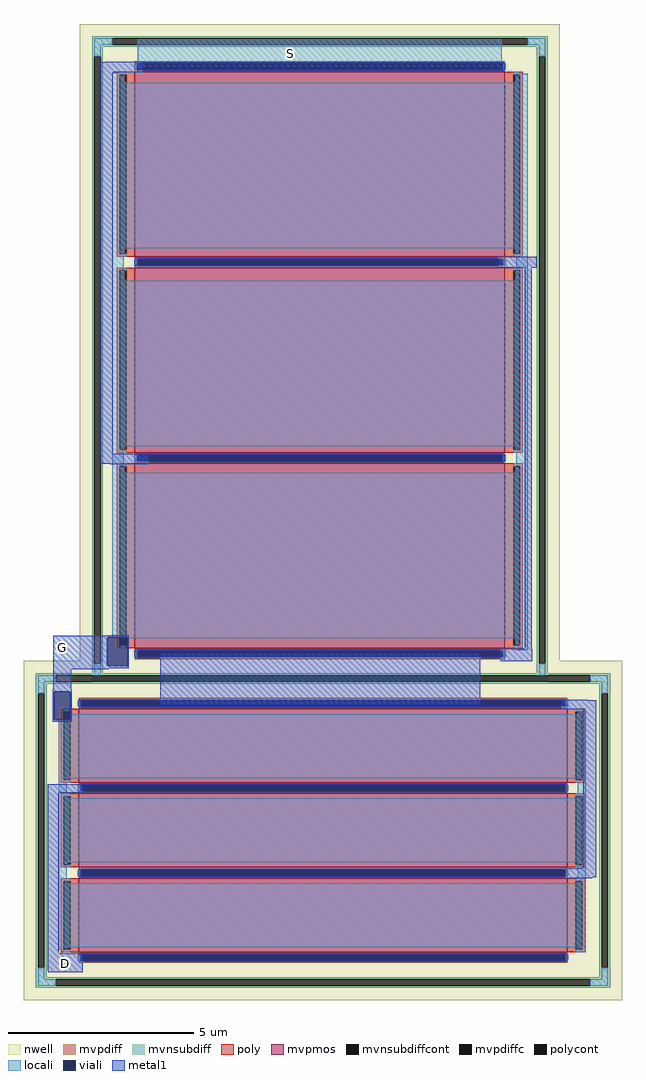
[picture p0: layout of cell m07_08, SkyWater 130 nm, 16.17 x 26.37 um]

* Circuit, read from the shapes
.subckt m07_08 D G S
XM1 n1 G D S sky130_fd_pr__pfet_g5v0d10v5 w=13.2 l=2 m=3
XM2 S G n1 S sky130_fd_pr__pfet_g5v0d10v5 w=10 l=5 m=3
.ends

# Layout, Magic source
magic
tech sky130A
magscale 1 2
<< nwell >>
rect 29034 10510 29204 10576
rect 26588 8830 26776 8932
<< locali >>
rect 27072 13718 29038 13870
rect 26934 13636 26996 13690
rect 29118 13636 29180 13684
rect 26934 12742 29180 13636
rect 26934 12566 26996 12742
rect 29118 12566 29180 12742
rect 26934 11672 29180 12566
rect 26934 11528 26996 11672
rect 29118 11528 29180 11672
rect 26934 10638 29180 11528
rect 27018 10634 29180 10638
rect 29118 10570 29180 10634
rect 29450 10222 29494 10242
rect 26708 10194 29494 10222
rect 26644 9878 29494 10194
rect 26644 9768 26688 9878
rect 29450 9768 29494 9878
rect 26644 9424 29494 9768
rect 26644 9309 26688 9424
rect 29450 9309 29494 9424
rect 26644 8965 29494 9309
rect 26644 8950 26688 8965
rect 29450 8938 29494 8965
<< viali >>
rect 26908 10484 27018 10638
rect 26620 10194 26708 10346
<< metal1 >>
rect 26894 13746 27100 13750
rect 26864 13692 27100 13746
rect 26864 11632 26936 13692
rect 29022 12636 29228 12694
rect 26864 11578 27130 11632
rect 26924 11574 27130 11578
rect 26902 10648 27024 10650
rect 26616 10638 27024 10648
rect 26616 10484 26908 10638
rect 27018 10484 27024 10638
rect 29164 10576 29202 12636
rect 26616 10472 27024 10484
rect 26616 10466 26914 10472
rect 26616 10358 26712 10466
rect 26614 10346 26714 10358
rect 26614 10194 26620 10346
rect 26708 10194 26714 10346
rect 27194 10274 28924 10554
rect 29034 10510 29204 10576
rect 29362 10300 29506 10302
rect 29362 10250 29550 10300
rect 26614 10182 26714 10194
rect 26586 9798 26776 9846
rect 26586 8932 26644 9798
rect 29478 9390 29550 10250
rect 29384 9342 29550 9390
rect 29384 9338 29528 9342
rect 26586 8836 26776 8932
rect 26588 8830 26776 8836
use sky130_fd_pr__pfet_g5v0d10v5_93K9QQ  sky130_fd_pr__pfet_g5v0d10v5_93K9QQ_0
transform 0 1 28073 -1 0 9595
box -916 -1617 916 1617
use sky130_fd_pr__pfet_g5v0d10v5_QAVCZF  sky130_fd_pr__pfet_g5v0d10v5_QAVCZF_0
transform 0 1 28056 -1 0 12137
box -1816 -1297 1816 1297
<< labels >>
flabel metal1 26668 10582 26668 10582 0 FreeSans 1600 0 0 0 G
flabel locali 27900 13794 27900 13794 0 FreeSans 1600 0 0 0 S
flabel metal1 26682 8878 26682 8878 0 FreeSans 1600 0 0 0 D
<< end >>

# cell sky130_fd_pr__pfet_g5v0d10v5_93K9QQ: kit device sky130_fd_pr__pfet_g5v0d10v5, w 13.2 l 2 m 1 nf 3 diffcov 100 polycov 100 guard 1 glc 1 grc 1 gtc 1 gbc 1 tbcov 100 rlcov 100 topc 1 botc 1 poverlap 0 doverlap 1 lmin 0.50 wmin 0.42 class mosfet compatible {sky130_fd_pr__pfet_01v8 sky130_fd_pr__pfet_01v8_lvt sky130_fd_pr__pfet_01v8_hvt sky130_fd_pr__pfet_g5v0d10v5} full_metal 1 conn_gates 0 viasrc 100 viadrn 100 viagate 100 viagb 0 viagr 0 viagl 0 viagt 0 doports 1

# cell sky130_fd_pr__pfet_g5v0d10v5_QAVCZF: kit device sky130_fd_pr__pfet_g5v0d10v5, w 10 l 5 m 1 nf 3 diffcov 100 polycov 100 guard 1 glc 1 grc 1 gtc 1 gbc 1 tbcov 100 rlcov 100 topc 1 botc 1 poverlap 0 doverlap 1 lmin 0.50 wmin 0.42 class mosfet compatible {sky130_fd_pr__pfet_01v8 sky130_fd_pr__pfet_01v8_lvt sky130_fd_pr__pfet_01v8_hvt sky130_fd_pr__pfet_g5v0d10v5} full_metal 1 conn_gates 0 viasrc 100 viadrn 100 viagate 100 viagb 0 viagr 0 viagl 0 viagt 0 doports 1
